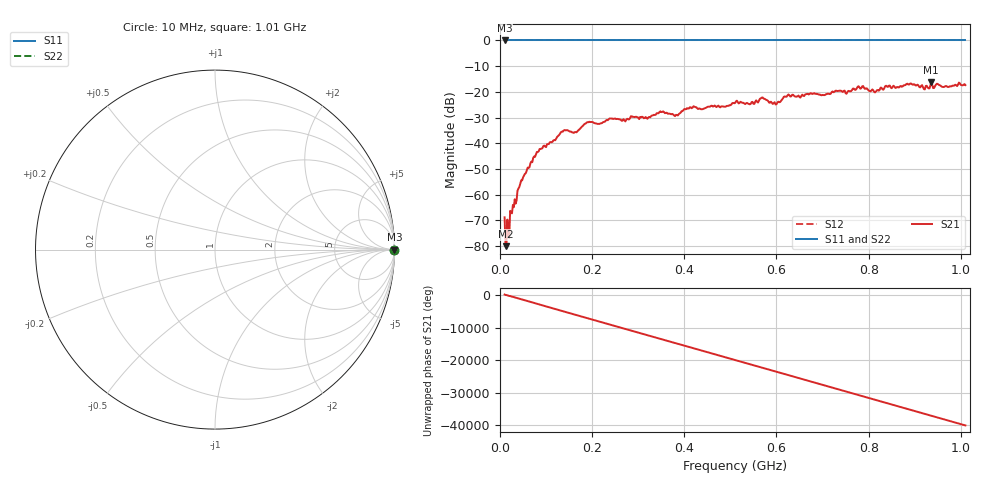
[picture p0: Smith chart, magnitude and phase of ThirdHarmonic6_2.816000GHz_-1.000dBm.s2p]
! 8/17/2025 7:25:36 AM
! C:\ANRITSUVNA\TEMP\TEMP.S2P
! CHANNEL.1
! TR.MEASUREMENT
! RAW.DATA
! RF.CORRECTION.OFF
! AVERAGING.OFF
! IF.BANDWIDTH: 5KHZ
! SWEEPTYPE:  FREQ.SWEEP(Linear)
! Reference Plane Port Info
! PORT:  PORT1  PORT2
! DISTANCE:  0  m  0  m
! TIME:  0  s  0  s
! PHASE.OFFSET:  0  deg.  0  deg.
! LOSS:  0  dB  0  dB
! REF.LOSS:  0  dB  0  dB
! REF.FREQ:  0  Hz  0  Hz
! Power Info
! POWER:  -20  dBm  -20  dBm
! EFF.POWER:  -20  dBm  -20  dBm
! SOURCE.ATTEN:  0  dB  0  dB
! TEST.ATTEN:  0  dB  0  dB
# GHZ S RI R 50.0
! FREQ.GHZ  S11RE  S11IM  S21RE  S21IM  S12RE  S12IM  S22RE  S22IM
!; PortSelection: Port_12
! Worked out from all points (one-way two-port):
!   501 points, 10 MHz to 1.01 GHz, reference 50 ohm
!   highest |S21| = -16.11 dB at 936 MHz (marker M1); lowest = -80.1 dB at 12 MHz (marker M2)
!   lowest |S11| = 0.0 dB at 10 MHz (marker M3)
!   |S11| at or under -10 dB: nowhere
!   |S22| runs from 0.0 to 0.0 dB; largest |S21 - S12| = 1.1
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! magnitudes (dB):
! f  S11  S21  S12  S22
! 10 MHz  0.0  -68.8  0.0  0.0
! 12 MHz  0.0  -80.1  0.0  0.0
! 16 MHz  0.0  -69.7  0.0  0.0
! 26 MHz  0.0  -67.3  0.0  0.0
! 42 MHz  0.0  -57.0  0.0  0.0
! 82 MHz  0.0  -43.4  0.0  0.0
! 136 MHz  0.0  -35.5  0.0  0.0
! 162 MHz  0.0  -35.7  0.0  0.0
! 178 MHz  0.0  -33.5  0.0  0.0
! 344 MHz  0.0  -28.3  0.0  0.0
! 382 MHz  0.0  -29.0  0.0  0.0
! 416 MHz  0.0  -26.4  0.0  0.0
! 510 MHz  0.0  -24.4  0.0  0.0
! 570 MHz  0.0  -22.2  0.0  0.0
! 596 MHz  0.0  -24.0  0.0  0.0
! 624 MHz  0.0  -21.4  0.0  0.0
! 678 MHz  0.0  -20.8  0.0  0.0
! 782 MHz  0.0  -18.7  0.0  0.0
! 816 MHz  0.0  -19.9  0.0  0.0
! 844 MHz  0.0  -17.6  0.0  0.0
! 936 MHz  0.0  -16.1  0.0  0.0
! 1.01 GHz  0.0  -17.4  0.0  0.0
